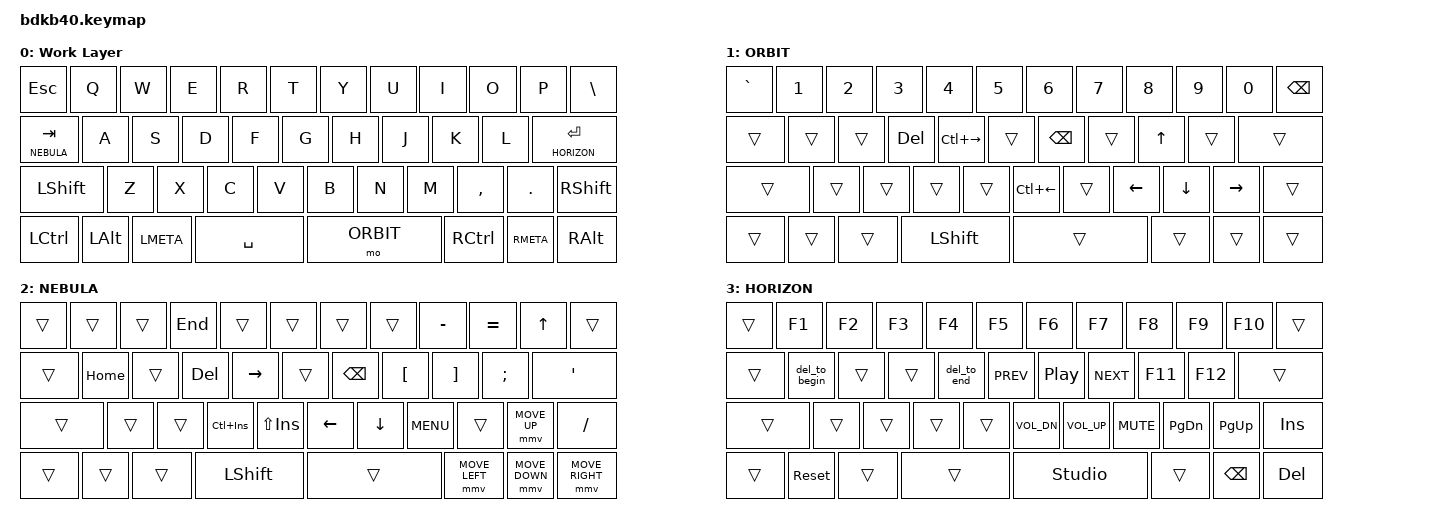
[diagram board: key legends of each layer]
// This file was generated from a template. Edit it to match your keyboard.
// See https://zmk.dev/docs/development/hardware-integration/new-shield for more instructions.

#include <behaviors.dtsi>
#include <dt-bindings/zmk/keys.h>
#include <dt-bindings/zmk/pointing.h>

#define WORK    0
#define ORBIT   1
#define NEBULA  2
#define HORIZON 3

&lt {
    flavor = "hold-preferred";
    tapping-term-ms = <200>;
    quick-tap-ms = <220>;
    retro-tap;
};

/ {
    // Define a default keymap here.
    // See https://zmk.dev/docs/development/hardware-integration/new-shield#default-keymap.

    behaviors {
        lt_rpt: layer_tap_repeat {
            compatible = "zmk,behavior-hold-tap";
            #binding-cells = <2>;
            flavor = "hold-preferred";
            tapping-term-ms = <200>;
            quick-tap-ms = <220>;
            retro-tap;
            bindings = <&mo>, <&kp>;
        };
    };

    macros {
        del_to_begin: m1 {
            compatible = "zmk,behavior-macro";
            #binding-cells = <0>;
            bindings = <&kp LS(HOME) &kp DELETE>;
            label = "M1";
        };

        del_to_end: del_to_end {
            compatible = "zmk,behavior-macro";
            #binding-cells = <0>;
            bindings = <&kp LS(END) &kp DELETE>;
            label = "DEL_TO_END";
        };
    };

    keymap {
        compatible = "zmk,keymap";

        WORK {
            display-name = "Work Layer";

            // ------------------------------------------------------------------------------------------------------------
            // | ESC |  Q  |  W  |  E  |  R  |  T  |  Y  |  U  |  I  |  O  |  P  |BSPC |
            // |  CAPS |  A  |  S  |  D  |  F  |  G  |  H  |  J  |  K  |  L  |    \    |
            // |  SHIFT  |  Z  |  X  |  C  |  V  |  B  |  N  |  M  |  ,  |  .  | SHIFT |
            // |  CTRL |LMETA|  ALT  |   SPACE   |     SPACE     | Raise |RMETA|  CTRL |

            bindings = <
                &kp ESC             &kp Q     &kp W      &kp E      &kp R       &kp T      &kp Y      &kp U  &kp I      &kp O    &kp P     &kp BSLH
                &lt_rpt NEBULA TAB  &kp A     &kp S      &kp D      &kp F       &kp G      &kp H      &kp J  &kp K      &kp L    &lt_rpt HORIZON ENTER
                &kp LSHIFT          &kp Z     &kp X      &kp C      &kp V       &kp B      &kp N      &kp M  &kp COMMA  &kp DOT  &kp RSHIFT
                &kp LCTRL           &kp LALT  &kp LMETA  &kp SPACE  &mo ORBIT   &kp RCTRL  &kp RMETA  &kp RALT
            >;
        };

        ORBIT {
            display-name = "ORBIT";

            // ------------------------------------------------------------------------------------------------------------
            // | ESC |  Q  |  W  |  E  |  R  |  T  |  Y  |  U  |  I  |  O  |  P  |BSPC |
            // |  CAPS |  A  |  S  |  D  |  F  |  G  |  H  |  J  |  K  |  L  |    \    |
            // |  SHIFT  |  Z  |  X  |  C  |  V  |  B  |  N  |  M  |  ,  |  .  | SHIFT |
            // |  CTRL |LMETA|  ALT  |   SPACE   |     SPACE     | Raise |RMETA|  CTRL |

            bindings = <
                &kp GRAVE  &kp N1  &kp N2  &kp N3          &kp N4         &kp N5        &kp N6    &kp N7    &kp N8    &kp N9     &kp N0  &kp BSPC
                &trans     &trans  &trans  &kp DEL         &kp LC(RIGHT)  &trans        &kp BSPC  &trans    &kp UP    &trans     &trans
                &trans     &trans  &trans  &trans          &trans         &kp LC(LEFT)  &trans    &kp LEFT  &kp DOWN  &kp RIGHT  &trans
                &trans     &trans  &trans  &kp LEFT_SHIFT  &trans         &trans        &trans    &trans
            >;
        };

        NEBULA {
            display-name = "NEBULA";

            bindings = <
                &trans  &trans    &trans  &kp END         &trans          &trans          &trans          &trans           &kp MINUS  &kp EQUAL     &kp UP    &trans
                &trans  &kp HOME  &trans  &kp DEL         &kp RIGHT       &trans          &kp BSPC        &kp LBKT         &kp RBKT   &kp SEMI      &kp APOS
                &trans  &trans    &trans  &kp LC(INSERT)  &kp LS(INSERT)  &kp LEFT        &kp DOWN        &kp C_MENU       &trans     &mmv MOVE_UP  &kp FSLH
                &trans  &trans    &trans  &kp LSHFT       &trans       &mmv MOVE_LEFT  &mmv MOVE_DOWN  &mmv MOVE_RIGHT
            >;
        };

        HORIZON {
            display-name = "HORIZON";

            bindings = <
                &trans  &kp F1          &kp F2      &kp F3  &kp F4       &kp F5        &kp F6           &kp F7      &kp F8     &kp F9     &kp F10  &trans
                &trans  &del_to_begin   &trans      &trans  &del_to_end  &kp C_PREV    &kp C_PP         &kp C_NEXT  &kp F11    &kp F12    &trans
                &trans  &trans          &trans      &trans  &trans       &kp C_VOL_DN  &kp C_VOLUME_UP  &kp K_MUTE  &kp PG_DN  &kp PG_UP  &kp INSERT
                &trans  &sys_reset      &trans      &trans  &studio_unlock  &trans     &kp BSPC         &kp DEL
            >;
        };
    };
};
